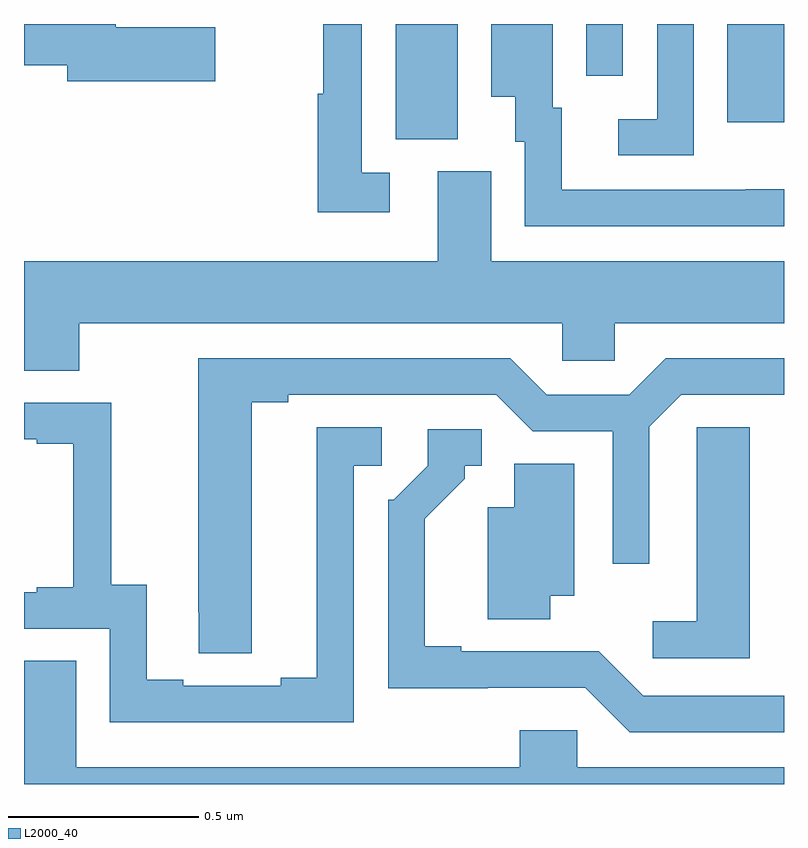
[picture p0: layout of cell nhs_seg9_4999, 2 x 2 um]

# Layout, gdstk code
import gdstk
lib = gdstk.Library(unit=1e-6, precision=1e-09)
def R(c, l, rs):  # rectangles x0, y0, x1, y1
    for r in rs: c.add(gdstk.rectangle(r[:2], r[2:], *l))
def P(c, l, *ps):  # polygons
    for p in ps: c.add(gdstk.Polygon(p, *l))
L2000_40 = (2000, 40)

nhs_seg9_4999 = lib.new_cell('nhs_seg9_4999')
R(nhs_seg9_4999, L2000_40, [(173.978,1238.197,174.142,1238.5), (174.851,1238.241,175,1238.5), (174.48,1238.364,174.576,1238.5)])
P(nhs_seg9_4999, L2000_40, [(173.962,1238.109),(173.889,1238.109),(173.889,1238.5),(173.788,1238.5),(173.788,1238.316),(173.773,1238.316),(173.773,1238.004),(173.962,1238.004)],
  [(173.503,1238.492),(173.242,1238.492),(173.242,1238.5),(173,1238.5),(173,1238.392),(173.114,1238.392),(173.114,1238.35),(173.503,1238.35)],
  [(174.762,1238.5),(174.666,1238.5),(174.666,1238.25),(174.564,1238.25),(174.564,1238.154),(174.762,1238.154)],
  [(175,1238.065),(174.899,1238.065),(174.899,1238.064),(174.415,1238.064),(174.415,1238.28),(174.391,1238.28),(174.391,1238.5),(174.23,1238.5),(174.23,1238.309),(174.293,1238.309),(174.293,1238.19),(174.318,1238.19),(174.318,1237.968),(175,1237.968)],
  [(173.145,1237.712),(174.417,1237.712),(174.417,1237.614),(174.555,1237.614),(174.555,1237.712),(175,1237.712),(175,1237.876),(174.229,1237.876),(174.229,1238.112),(174.089,1238.112),(174.089,1237.876),(173,1237.876),(173,1237.588),(173.145,1237.588)],
  [(173.599,1237.504),(173.695,1237.504),(173.695,1237.524),(174.243,1237.524),(174.339,1237.428),(174.549,1237.428),(174.549,1237.08),(174.645,1237.08),(174.645,1237.44),(174.729,1237.524),(175,1237.524),(175,1237.62),(174.689,1237.62),(174.593,1237.524),(174.375,1237.524),(174.279,1237.62),(173.459,1237.62),(173.459,1236.952),(173.46,1236.952),(173.46,1236.844),(173.599,1236.844)],
  [(173.868,1237.338),(173.941,1237.338),(173.941,1237.439),(173.771,1237.439),(173.771,1236.779),(173.675,1236.779),(173.675,1236.759),(173.419,1236.759),(173.419,1236.774),(173.323,1236.774),(173.323,1237.025),(173.229,1237.025),(173.229,1237.503),(173,1237.503),(173,1237.407),(173.033,1237.407),(173.033,1237.395),(173.129,1237.395),(173.129,1237.018),(173.033,1237.018),(173.033,1237.005),(173,1237.005),(173,1236.909),(173.226,1236.909),(173.226,1236.663),(173.868,1236.663)],
  [(174.91,1237.439),(174.771,1237.439),(174.771,1237.331),(174.77,1237.331),(174.77,1236.928),(174.654,1236.928),(174.654,1236.831),(174.91,1236.831)],
  [(175,1236.732),(174.63,1236.732),(174.512,1236.85),(174.416,1236.85),(174.416,1236.849),(174.151,1236.849),(174.151,1236.862),(174.055,1236.862),(174.055,1237.198),(174.16,1237.303),(174.16,1237.338),(174.205,1237.338),(174.205,1237.434),(174.063,1237.434),(174.063,1237.338),(173.973,1237.248),(173.958,1237.248),(173.958,1236.752),(174.221,1236.752),(174.221,1236.753),(174.477,1236.753),(174.594,1236.636),(175,1236.636)],
  [(174.385,1236.995),(174.448,1236.995),(174.448,1237.343),(174.29,1237.343),(174.29,1237.228),(174.221,1237.228),(174.221,1236.934),(174.385,1236.934)],
  [(175,1236.544),(174.456,1236.544),(174.456,1236.642),(174.305,1236.642),(174.305,1236.544),(173.137,1236.544),(173.137,1236.824),(173,1236.824),(173,1236.5),(175,1236.5)])

lib.write_gds('nhs_seg9_4999.gds')
